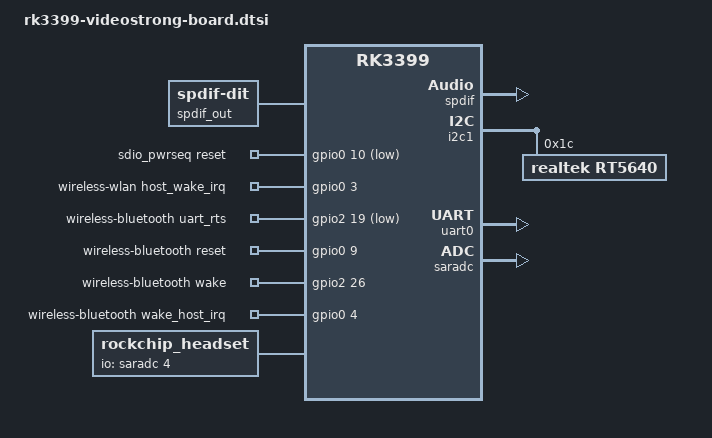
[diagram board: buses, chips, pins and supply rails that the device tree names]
/*
 * Copyright (c) 2016 Fuzhou Rockchip Electronics Co., Ltd
 *
 * This file is dual-licensed: you can use it either under the terms
 * of the GPL or the X11 license, at your option. Note that this dual
 * licensing only applies to this file, and not this project as a
 * whole.
 *
 *  a) This file is free software; you can redistribute it and/or
 *     modify it under the terms of the GNU General Public License as
 *     published by the Free Software Foundation; either version 2 of the
 *     License, or (at your option) any later version.
 *
 *     This file is distributed in the hope that it will be useful,
 *     but WITHOUT ANY WARRANTY; without even the implied warranty of
 *     MERCHANTABILITY or FITNESS FOR A PARTICULAR PURPOSE.  See the
 *     GNU General Public License for more details.
 *
 * Or, alternatively,
 *
 *  b) Permission is hereby granted, free of charge, to any person
 *     obtaining a copy of this software and associated documentation
 *     files (the "Software"), to deal in the Software without
 *     restriction, including without limitation the rights to use,
 *     copy, modify, merge, publish, distribute, sublicense, and/or
 *     sell copies of the Software, and to permit persons to whom the
 *     Software is furnished to do so, subject to the following
 *     conditions:
 *
 *     The above copyright notice and this permission notice shall be
 *     included in all copies or substantial portions of the Software.
 *
 *     THE SOFTWARE IS PROVIDED "AS IS", WITHOUT WARRANTY OF ANY KIND,
 *     EXPRESS OR IMPLIED, INCLUDING BUT NOT LIMITED TO THE WARRANTIES
 *     OF MERCHANTABILITY, FITNESS FOR A PARTICULAR PURPOSE AND
 *     NONINFRINGEMENT. IN NO EVENT SHALL THE AUTHORS OR COPYRIGHT
 *     HOLDERS BE LIABLE FOR ANY CLAIM, DAMAGES OR OTHER LIABILITY,
 *     WHETHER IN AN ACTION OF CONTRACT, TORT OR OTHERWISE, ARISING
 *     FROM, OUT OF OR IN CONNECTION WITH THE SOFTWARE OR THE USE OR
 *     OTHER DEALINGS IN THE SOFTWARE.
 */

#include "rk3399-videostrong.dtsi"

/ {
	compatible = "rockchip,rk3399-videostrong-board", "rockchip,rk3399";

	rt5640-sound {
		compatible = "simple-audio-card";
		simple-audio-card,format = "i2s";
		simple-audio-card,name = "rockchip,rt5640-codec";
		simple-audio-card,mclk-fs = <256>;
		simple-audio-card,widgets =
			"Microphone", "Mic Jack",
			"Headphone", "Headphone Jack",
			"Speaker", "Speaker";
		simple-audio-card,routing =
			"Mic Jack", "MICBIAS1",
			"IN2P", "Mic Jack",
			"IN2N", "Mic Jack",
			"Headphone Jack", "HPOL",
			"Headphone Jack", "HPOR",
			"Speaker", "SPOLP",
			"Speaker", "SPOLN",
			"Speaker", "SPORP",
			"Speaker", "SPORN";
		simple-audio-card,cpu {
			sound-dai = <&i2s1>;
		};
		simple-audio-card,codec {
			sound-dai = <&rt5640>;
		};
	};


	spdif-sound {
		status = "okay";
		compatible = "simple-audio-card";
		simple-audio-card,name = "ROCKCHIP,SPDIF";
		simple-audio-card,cpu {
			sound-dai = <&spdif>;
		};
		simple-audio-card,codec {
			sound-dai = <&spdif_out>;
		};
	};

	spdif_out: spdif-out {
		status = "okay";
		compatible = "linux,spdif-dit";
		#sound-dai-cells = <0>;
	};

	hdmi_sound: hdmi_sound {
		status = "disabled";
		compatible = "simple-audio-card";
		simple-audio-card,format = "i2s";
		simple-audio-card,mclk-fs = <256>;
		simple-audio-card,name = "rockchip,hdmi";

		simple-audio-card,cpu {
			sound-dai = <&i2s2>;
		};
		simple-audio-card,codec {
			sound-dai = <&hdmi>;
		};
	};

	sdio_pwrseq: sdio-pwrseq {
		compatible = "mmc-pwrseq-simple";
		clocks = <&rk808 1>;
		clock-names = "ext_clock";
		pinctrl-names = "default";
		pinctrl-0 = <&wifi_enable_h>;

		/*
		 * On the module itself this is one of these (depending
		 * on the actual card populated):
		 * - SDIO_RESET_L_WL_REG_ON
		 * - PDN (power down when low)
		 */
		reset-gpios = <&gpio0 10 GPIO_ACTIVE_LOW>; /* GPIO0_B2 */
	};

	wireless-wlan {
		compatible = "wlan-platdata";
		rockchip,grf = <&grf>;
		wifi_chip_type = "ap6354";
		sdio_vref = <1800>;
		WIFI,host_wake_irq = <&gpio0 3 GPIO_ACTIVE_HIGH>; /* GPIO0_a3 */
		status = "okay";
	};

	wireless-bluetooth {
		compatible = "bluetooth-platdata";
		//wifi-bt-power-toggle;
		uart_rts_gpios = <&gpio2 19 GPIO_ACTIVE_LOW>; /* GPIO2_C3 */
		pinctrl-names = "default", "rts_gpio";
		pinctrl-0 = <&uart0_rts>;
		pinctrl-1 = <&uart0_gpios>;
		//BT,power_gpio  = <&gpio3 19 GPIO_ACTIVE_HIGH>; /* GPIOx_xx */
		BT,reset_gpio    = <&gpio0 9 GPIO_ACTIVE_HIGH>; /* GPIO0_B1 */
		BT,wake_gpio     = <&gpio2 26 GPIO_ACTIVE_HIGH>; /* GPIO2_D2 */
		BT,wake_host_irq = <&gpio0 4 GPIO_ACTIVE_HIGH>; /* GPIO0_A4 */
		status = "okay";
	};

	rockchip_headset {
		compatible = "rockchip_headset";
		status = "okay";
		//headset_gpio = <&gpio0 11 GPIO_ACTIVE_HIGH>;
		//pinctrl-names = "default";
		//pinctrl-0 = <&hp_det>;
		io-channels = <&saradc 4>;
	};
};

&spdif {
	status = "okay";
	pinctrl-0 = <&spdif_bus>;
	i2c-scl-rising-time-ns = <450>;
	i2c-scl-falling-time-ns = <15>;
	#sound-dai-cells = <0>;
};



&i2c1 {
	status = "okay";
	i2c-scl-rising-time-ns = <300>;
	i2c-scl-falling-time-ns = <15>;

	rt5640: rt5640@1c{
		#sound-dai-cells = <0>;
		compatible = "realtek,rt5640";
		reg = <0x1c>;
		clocks = <&cru SCLK_I2S_8CH_OUT>;
		clock-names = "mclk";
		realtek,in1-differential;
		pinctrl-names = "default";
		//hp-con-gpio = <&gpio0 11 GPIO_ACTIVE_HIGH>;
		//hp-det-gpio = <&gpio4 28 GPIO_ACTIVE_LOW>;
		//io-channels = <&saradc 4>;
		//hp-det-adc-value = <300>;
	};
};

&uart0 {
	pinctrl-names = "default";
	pinctrl-0 = <&uart0_xfer &uart0_cts>;
	status = "okay";
};

&saradc {
	status = "okay";
};

&rockchip_suspend {
	status = "okay";
	rockchip,sleep-debug-en = <1>;
	rockchip,sleep-mode-config = <
		(0
		| RKPM_SLP_ARMPD
		| RKPM_SLP_PERILPPD
		| RKPM_SLP_DDR_RET
		| RKPM_SLP_PLLPD
		| RKPM_SLP_CENTER_PD
		| RKPM_SLP_AP_PWROFF
		)
		>;
	rockchip,wakeup-config = <
		(0
		| RKPM_GPIO_WKUP_EN
		| RKPM_PWM_WKUP_EN
		)
		>;
		rockchip,pwm-regulator-config = <
		(0
		| PWM2_REGULATOR_EN
		)
		>;
		rockchip,power-ctrl =
		<&gpio1 17 GPIO_ACTIVE_HIGH>,
		<&gpio1 14 GPIO_ACTIVE_HIGH>;
};

&pinctrl {
	sdio-pwrseq {
		wifi_enable_h: wifi-enable-h {
			rockchip,pins =
				<0 10 RK_FUNC_GPIO &pcfg_pull_none>;
		};
	};


	wireless-bluetooth {
		uart0_gpios: uart0-gpios {
			rockchip,pins =
				<2 19 RK_FUNC_GPIO &pcfg_pull_none>;
		};
	};
 rockchip_headset {
		hp_det:hp_det {
			rockchip,pins = <0 11 RK_FUNC_GPIO &pcfg_pull_none>;
		};
	};
};
